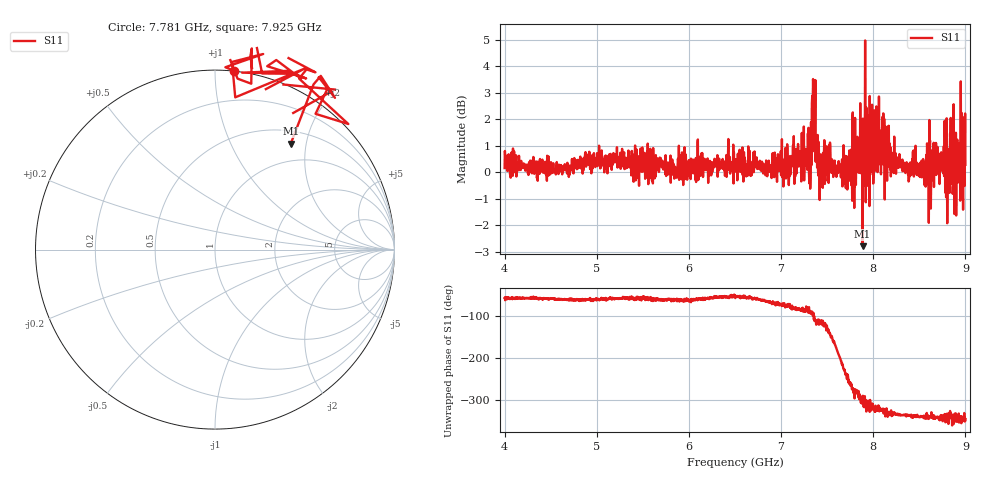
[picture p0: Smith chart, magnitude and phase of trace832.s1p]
! Created with skrf 1.8.0 (http://scikit-rf.org).
# Hz S RI R 50.0
!freq ReS11 ImS11
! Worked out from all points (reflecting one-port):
!   1601 points, 4 GHz to 9 GHz, reference 50 ohm
!   lowest |S11| = -2.8 dB at 7.884 GHz (marker M1), VSWR 6.27, Z = 34.8 + j86.5 ohm
!   phase of S11 starts at -58 deg and turns -287 deg over the sweep
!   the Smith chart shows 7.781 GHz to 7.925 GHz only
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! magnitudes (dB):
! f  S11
! 4 GHz  0.2
! 4.625 GHz  -0.1
! 5.25 GHz  0.2
! 5.875 GHz  0.1
! 6.5 GHz  0.5
! 7.125 GHz  0.2
! 7.306 GHz  -0.4
! 7.347 GHz  3.5
! 7.359 GHz  2.4
! 7.4 GHz  0.2
! 7.438 GHz  -0.2
! 7.509 GHz  -0.1
! 7.659 GHz  0.3
! 7.75 GHz  0.2
! 7.884 GHz  -2.8
! 7.928 GHz  1.3
! 7.941 GHz  1.9
! 7.962 GHz  2.9
! 7.981 GHz  0.0
! 7.988 GHz  2.5
! 8.05 GHz  1.8
! 8.375 GHz  0.2
! 8.775 GHz  1.9
! 8.806 GHz  -0.3
! 8.834 GHz  1.5
! 8.919 GHz  -0.1
! 8.972 GHz  0.1
! 9 GHz  0.3
